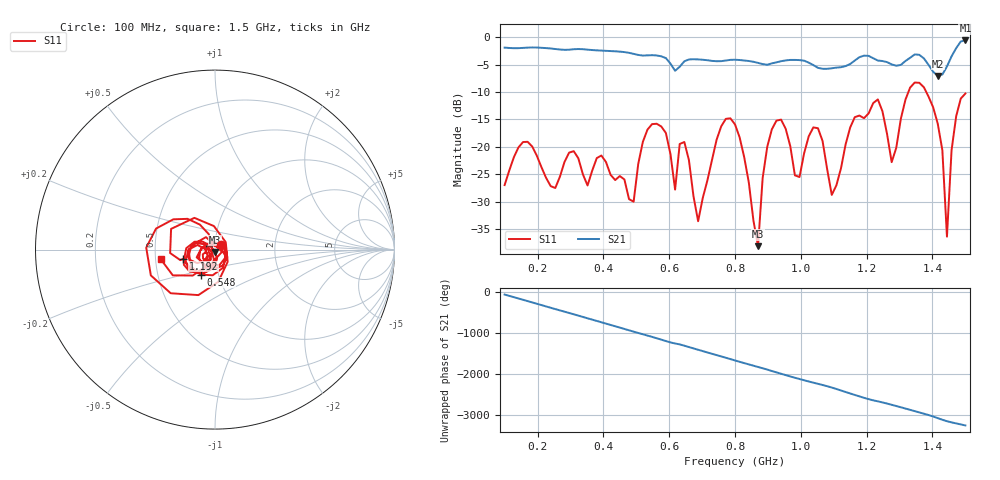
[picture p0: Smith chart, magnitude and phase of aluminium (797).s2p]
! NanoVNA-App
! Date: 2025-09-25 15:01:29
! Start: 100MHz Stop: 1,5GHz Points: 101
! S-Parameter data: F S11 S21 S12 S22
# Hz S RI R 50
!  Frequency  S11_Real  S11_Imag  S21_Real  S21_Imag  S12_Real  S12_Imag  S22_Real  S22_Imag
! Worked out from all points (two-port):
!   101 points, 100 MHz to 1.5 GHz, reference 50 ohm
!   highest |S21| = -0.62 dB at 1.5 GHz (marker M1); lowest = -7.1 dB at 1.416 GHz (marker M2)
!   |S21| within 3 dB of the highest: start of sweep to 580.9 MHz; 1.457 GHz to end of sweep (the widest 2 of 4)
!   lowest |S11| = -38.1 dB at 870 MHz (marker M3), VSWR 1.03, Z = 50 - j1.25 ohm
!   |S11| at or under -10 dB: start of sweep to 1.327 GHz; 1.381 GHz to end of sweep
!   S12 and S22 are empty: the file has one direction only
!   S11 on the Smith chart (normalised r, x): 100 MHz: 1.07, +0.06; 548 MHz: 0.82, -0.24; 1.192 GHz: 0.70, -0.07; 1.5 GHz: 0.53, -0.06
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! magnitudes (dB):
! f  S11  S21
! 100 MHz  -27.0  -1.9
! 338 MHz  -25.0  -2.2
! 492 MHz  -30.0  -3.1
! 548 MHz  -15.9  -3.3
! 576 MHz  -16.3  -3.5
! 618 MHz  -27.8  -6.1
! 646 MHz  -19.1  -4.4
! 688 MHz  -33.5  -4.1
! 800 MHz  -15.9  -4.1
! 870 MHz  -38.1  -4.7
! 912 MHz  -16.8  -4.8
! 996 MHz  -25.5  -4.2
! 1.038 GHz  -16.5  -5.1
! 1.094 GHz  -28.7  -5.7
! 1.192 GHz  -14.8  -3.4
! 1.234 GHz  -11.4  -4.3
! 1.276 GHz  -22.8  -5.0
! 1.346 GHz  -8.3  -3.2
! 1.416 GHz  -15.8  -7.1
! 1.444 GHz  -36.3  -5.4
! 1.458 GHz  -20.6  -3.5
! 1.5 GHz  -10.3  -0.6
